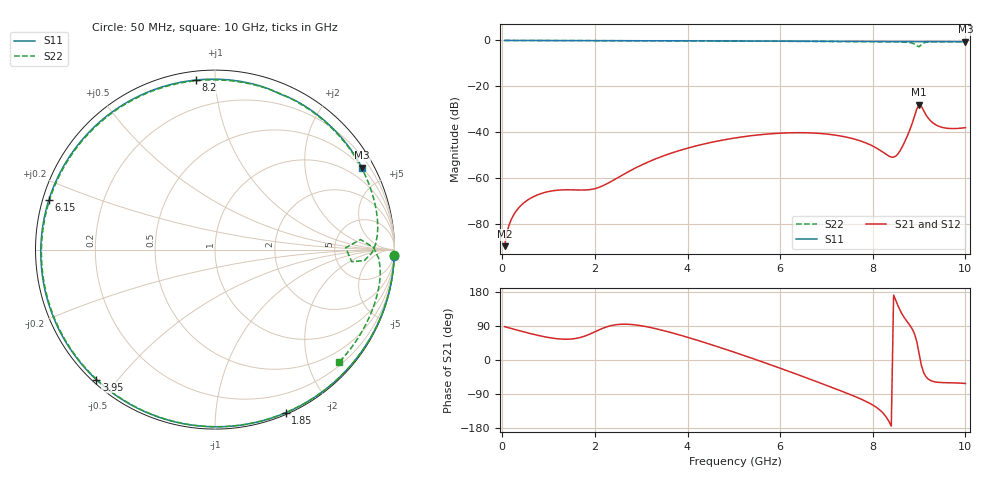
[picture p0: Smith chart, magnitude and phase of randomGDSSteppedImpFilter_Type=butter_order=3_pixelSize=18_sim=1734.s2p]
! freq	dB(S11)	phase(S11)	dB(S12)	phase(S12)
!  dB(S21)	phase(S21)	dB(S22)	phase(S22)
!S-par simulation data
#  GHz  S  DB  R 50
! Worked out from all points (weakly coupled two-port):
!   200 points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, 50 MHz to 10 GHz, reference 50 ohm
!   highest |S21| = -27.97 dB at 9 GHz (marker M1); lowest = -89.7 dB at 50 MHz (marker M2)
!   lowest |S11| = -0.6 dB at 10 GHz (marker M3), VSWR 31.43, Z = 24.9 + j190 ohm
!   |S11| at or under -10 dB: nowhere
!   |S22| runs from -2.8 to 0.0 dB; largest |S21 - S12| = 0
!   S11 on the Smith chart (normalised r, x): 50 MHz: 1, -60; 1.85 GHz: 0.02, -1.52; 3.95 GHz: 0.01, -0.44; 6.15 GHz: 0.02, +0.15; 8.2 GHz: 0.05, +0.89; 10 GHz: 0.50, +3.79
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0.05  -0.01 -1.9  -89.67 88.0  -89.67 88.0  -0.00 -1.7
0.15  -0.01 -5.6  -80.21 84.6  -80.21 84.6  -0.01 -5.1
0.4  -0.02 -14.9  -71.99 76.3  -71.99 76.3  -0.02 -13.5
0.75  -0.03 -27.7  -67.38 65.5  -67.38 65.5  -0.03 -25.2
1.75  -0.08 -63.1  -65.21 61.7  -65.21 61.7  -0.07 -58.4
1.85  -0.08 -66.5  -65.11 66.3  -65.11 66.3  -0.08 -61.7
2.65  -0.11 -92.8  -58.02 94.5  -58.02 94.5  -0.11 -88.0
3.4  -0.14 -116.0  -50.91 80.1  -50.91 80.1  -0.15 -112.9
3.95  -0.17 -132.4  -47.24 61.7  -47.24 61.7  -0.19 -131.7
5.05  -0.23 -164.3  -42.42 18.9  -42.42 18.9  -0.27 -172.1
5.6  -0.26 179.7  -41.02 -4.3  -41.02 -4.3  -0.33 165.3
6.15  -0.30 163.4  -40.28 -28.3  -40.28 -28.3  -0.39 140.7
6.7  -0.34 146.5  -40.34 -53.1  -40.34 -53.1  -0.44 113.9
7.45  -0.39 122.3  -42.22 -88.1  -42.22 -88.1  -0.51 74.6
8.2  -0.44 96.4  -48.43 -137.4  -48.43 -137.4  -0.57 34.5
8.35  -0.45 91.1  -50.43 -162.3  -50.43 -162.3  -0.60 26.6
8.6  -0.46 81.9  -47.72 128.7  -47.72 128.7  -0.68 13.3
8.9  -0.51 70.7  -33.10 69.4  -33.10 69.4  -1.58 -4.2
9  -0.55 67.2  -27.97 17.0  -27.97 17.0  -2.76 0.8
9.15  -0.50 61.7  -32.47 -44.4  -32.47 -44.4  -0.79 -3.1
9.4  -0.51 52.1  -37.18 -58.8  -37.18 -58.8  -0.55 -17.4
10  -0.55 29.1  -38.02 -61.9  -38.02 -61.9  -0.60 -42.3
